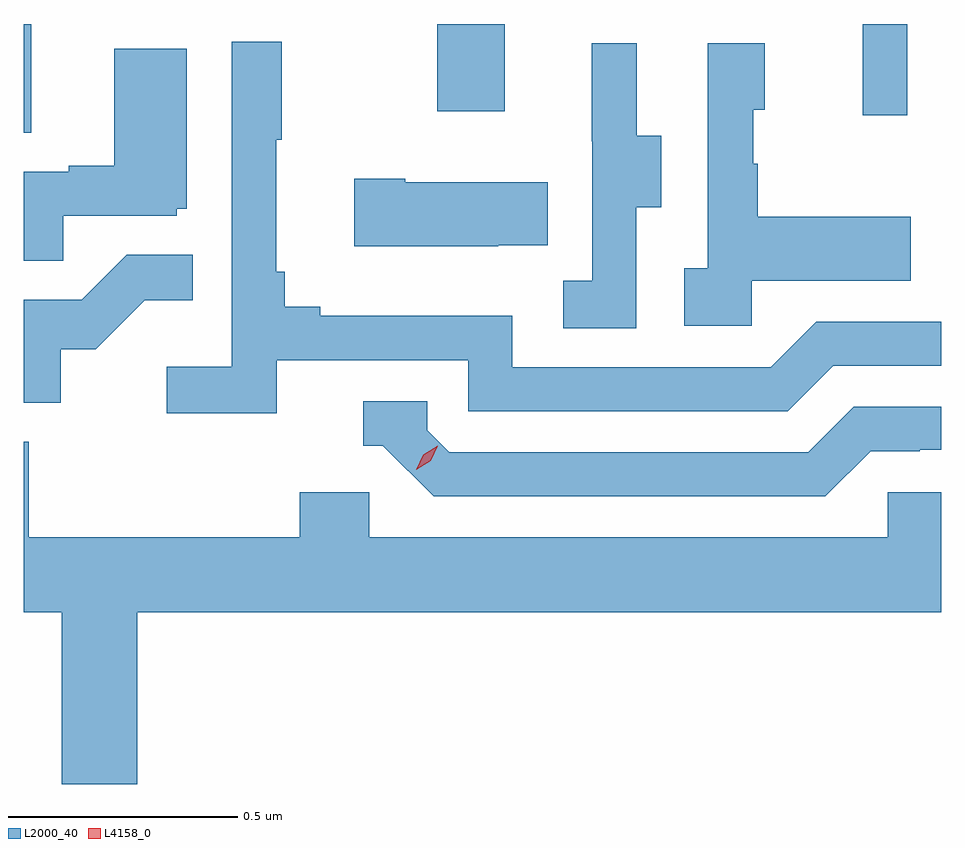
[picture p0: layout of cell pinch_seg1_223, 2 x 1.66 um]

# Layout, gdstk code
import gdstk
lib = gdstk.Library(unit=1e-6, precision=1e-09)
def R(c, l, rs):  # rectangles x0, y0, x1, y1
    for r in rs: c.add(gdstk.rectangle(r[:2], r[2:], *l))
def P(c, l, *ps):  # polygons
    for p in ps: c.add(gdstk.Polygon(p, *l))
L2000_40 = (2000, 40)
L4158_0 = (4158, 0)

pinch_seg1_223 = lib.new_cell('pinch_seg1_223')
R(pinch_seg1_223, L2000_40, [(968.121,579.418,968.137,579.655), (969.95,579.456,970.047,579.655), (969.022,579.465,969.169,579.655)])
P(pinch_seg1_223, L2000_40, [(968.672,578.922),(969.09,578.922),(969.09,578.811),(969.787,578.811),(969.886,578.91),(970.121,578.91),(970.121,579.006),(969.849,579.006),(969.75,578.907),(969.186,578.907),(969.186,579.019),(968.767,579.019),(968.767,579.038),(968.69,579.038),(968.69,579.115),(968.671,579.115),(968.671,579.403),(968.683,579.403),(968.683,579.616),(968.574,579.616),(968.574,578.908),(968.433,578.908),(968.433,578.806),(968.672,578.806)],
  [(969.456,579.256),(969.511,579.256),(969.511,579.411),(969.457,579.411),(969.457,579.613),(969.359,579.613),(969.359,579.399),(969.36,579.399),(969.36,579.095),(969.297,579.095),(969.297,578.992),(969.456,578.992)],
  [(969.708,579.095),(970.055,579.095),(970.055,579.235),(969.721,579.235),(969.721,579.35),(969.711,579.35),(969.711,579.468),(969.736,579.468),(969.736,579.613),(969.612,579.613),(969.612,579.122),(969.561,579.122),(969.561,578.997),(969.708,578.997)],
  [(968.207,579.237),(968.454,579.237),(968.454,579.252),(968.476,579.252),(968.476,579.601),(968.318,579.601),(968.318,579.346),(968.219,579.346),(968.219,579.333),(968.121,579.333),(968.121,579.139),(968.207,579.139)],
  [(969.155,579.173),(969.263,579.173),(969.263,579.31),(968.953,579.31),(968.953,579.318),(968.841,579.318),(968.841,579.17),(969.155,579.17)],
  [(968.202,578.946),(968.278,578.946),(968.385,579.053),(968.489,579.053),(968.489,579.152),(968.345,579.152),(968.247,579.054),(968.121,579.054),(968.121,578.829),(968.202,578.829)],
  [(969.967,578.724),(970.074,578.724),(970.074,578.727),(970.121,578.727),(970.121,578.82),(969.93,578.82),(969.831,578.721),(969.048,578.721),(969,578.769),(969,578.832),(968.861,578.832),(968.861,578.736),(968.904,578.736),(969.015,578.625),(969.868,578.625)],
  [(968.368,578.372),(970.121,578.372),(970.121,578.634),(970.005,578.634),(970.005,578.536),(968.874,578.536),(968.874,578.634),(968.723,578.634),(968.723,578.536),(968.132,578.536),(968.132,578.744),(968.121,578.744),(968.121,578.372),(968.204,578.372),(968.204,577.998),(968.368,577.998)])
P(pinch_seg1_223, L4158_0, [(968.977,578.683),(968.977,578.683),(968.992,578.716),(969.023,578.736),(969.023,578.736),(969.023,578.735),(969.008,578.703),(968.977,578.683)])

lib.write_gds('pinch_seg1_223.gds')
